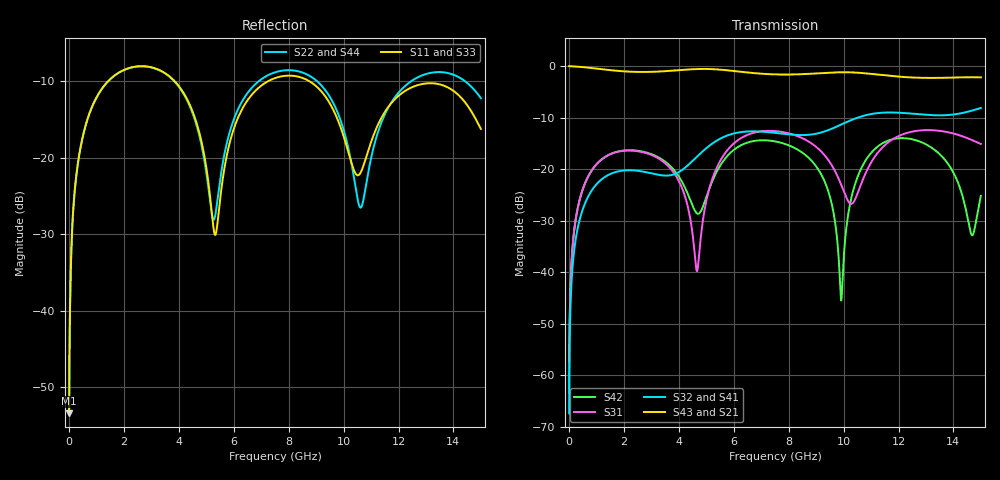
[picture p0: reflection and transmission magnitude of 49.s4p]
! Created with skrf 1.8.0 (http://scikit-rf.org).
# GHz S RI R 50.0
!freq ReS11 ImS11 ReS12 ImS12 ReS13 ImS13
! ReS14 ImS14
! ReS21 ImS21 ReS22 ImS22 ReS23 ImS23
! ReS24 ImS24
! ReS31 ImS31 ReS32 ImS32 ReS33 ImS33
! ReS34 ImS34
! ReS41 ImS41 ReS42 ImS42 ReS43 ImS43
! ReS44 ImS44
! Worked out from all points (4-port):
!   2499 points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, 5 MHz to 15 GHz, reference 50 ohm
!   strongest paths, dB at 5 MHz, 3.476 GHz, 7.19 GHz, 11.1 GHz, 15 GHz:
!     S43: 0.0, -1.0, -1.5, -1.6, -2.2
!     S21: 0.0, -1.0, -1.5, -1.6, -2.2
!     S32: -67.4, -21.2, -12.8, -9.2, -8.1
!     S41: -67.4, -21.3, -12.8, -9.2, -8.1
!     S31: -63.4, -18.7, -12.6, -17.9, -15.1
!     S42: -63.4, -18.4, -14.4, -16.3, -25.2
!   lowest |S11| = -53.4 dB at 5 MHz (marker M1), VSWR 1.00, Z = 50.2 + j0.129 ohm
!   |S11| at or under -10 dB: start of sweep to 1.433 GHz; 3.843 GHz to 7.262 GHz (3.419 GHz wide, 61.6 % of centre); 8.743 GHz to end of sweep
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0.005  0.0017 0.00129  0.9983 -0.0033  8.52e-05 0.000669  -8.28e-05 -0.00042
       0.9983 -0.0033  0.0017 0.00129  -8.28e-05 -0.00042  8.53e-05 0.000669
       8.52e-05 0.000669  -8.28e-05 -0.00042  0.0017 0.00129  0.9983 -0.0033
       -8.28e-05 -0.00042  8.53e-05 0.000669  0.9983 -0.0033  0.0017 0.00129
1.569404  0.2851 0.173  0.5178 -0.7476  0.1299 0.0571  -0.0913 -0.00126
          0.5178 -0.7476  0.2846 0.1733  -0.0913 -0.00123  0.1316 0.0546
          0.1299 0.0571  -0.0913 -0.00123  0.285 0.1729  0.5179 -0.7476
          -0.0913 -0.00126  0.1316 0.0546  0.5179 -0.7476  0.2845 0.1732
4.658191  0.0846 -0.1422  -0.8381 -0.4164  0.0101 0.00164  -0.0547 0.1202
          -0.8381 -0.4164  0.0876 -0.1334  -0.0544 0.1204  -0.0321 -0.0189
          0.0101 0.00164  -0.0544 0.1204  0.084 -0.1408  -0.8384 -0.4163
          -0.0547 0.1202  -0.0321 -0.0189  -0.8384 -0.4163  0.0868 -0.1321
8.197165  0.3406 -0.0234  -0.00173 0.8298  0.167 -0.1354  0.2032 -0.0696
          -0.00173 0.8298  0.3658 -0.0587  0.2035 -0.0708  0.159 -0.0287
          0.167 -0.1354  0.2035 -0.0708  0.3409 -0.021  -0.00306 0.8297
          0.2032 -0.0696  0.159 -0.0287  -0.00306 0.8297  0.3663 -0.0597
9.910379  0.1173 -0.1002  0.7279 0.4791  -0.0457 -0.0541  0.1424 -0.2305
          0.7279 0.4791  0.0997 -0.1389  0.1403 -0.2318  0.00514 0.00137
          -0.0457 -0.0541  0.1403 -0.2318  0.121 -0.0972  0.7266 0.4811
          0.1424 -0.2305  0.00514 0.00137  0.7266 0.4811  0.0963 -0.1406
11.38599  0.1491 0.1058  0.777 -0.2582  0.121 0.1038  -0.1468 -0.3215
          0.777 -0.2582  0.1251 0.1167  -0.1489 -0.3197  0.1189 0.1301
          0.121 0.1038  -0.1489 -0.3197  0.1534 0.1043  0.7782 -0.2548
          -0.1468 -0.3215  0.1189 0.1301  0.7782 -0.2548  0.1196 0.1194
15  0.1467 -0.0462  -0.5488 -0.5499  -0.134 -0.1135  -0.2793 0.2759
    -0.5488 -0.5499  0.1917 -0.1513  -0.2768 0.2781  0.00738 0.0546
    -0.134 -0.1135  -0.2768 0.2781  0.1488 -0.0448  -0.5434 -0.5556
    -0.2793 0.2759  0.00738 0.0546  -0.5434 -0.5556  0.1926 -0.1497
